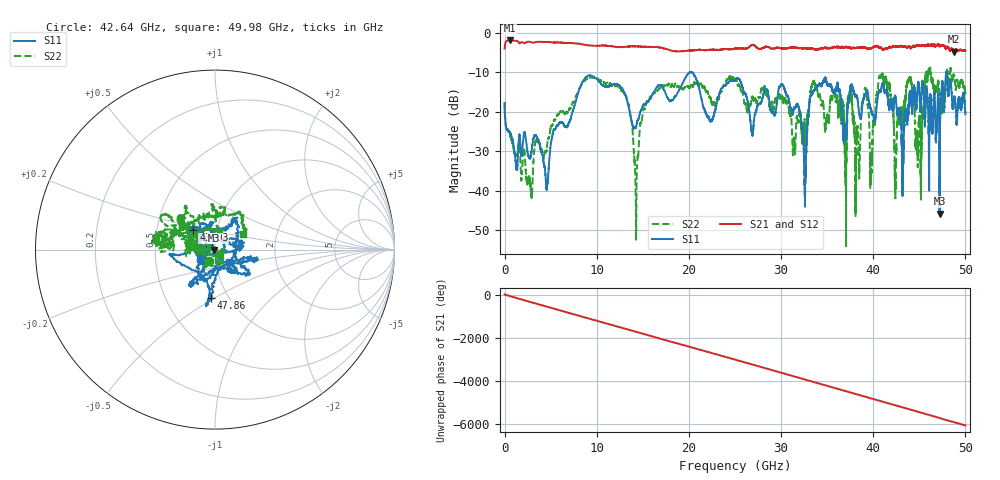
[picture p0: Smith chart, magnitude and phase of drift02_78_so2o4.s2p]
!Created with skrf (http://scikit-rf.org).
# Hz S RI R 50.0
!freq ReS11 ImS11 ReS21 ImS21 ReS12 ImS12 ReS22 ImS22
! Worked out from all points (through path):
!   10001 points, 300 kHz to 50 GHz, reference 50 ohm
!   highest |S21| = -1.99 dB at 610.3 MHz (marker M1); lowest = -4.9 dB at 48.77 GHz (marker M2)
!   group delay of S21, straight-line fit = 337 ps
!   lowest |S11| = -45.8 dB at 47.2 GHz (marker M3), VSWR 1.01, Z = 49.5 - j0.154 ohm
!   |S11| at or under -10 dB: start of sweep to 20.06 GHz; 20.24 GHz to 47.91 GHz (27.67 GHz wide, 81.2 % of centre); 47.92 GHz to end of sweep (the widest 3 of 6)
!   |S22| runs from -54.1 to -8.8 dB; largest |S21 - S12| = 0.035
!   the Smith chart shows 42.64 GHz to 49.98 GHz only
!   S11 on the Smith chart (normalised r, x): 42.64 GHz: 0.85, -0.10; 43.93 GHz: 0.77, +0.17; 47.86 GHz: 0.83, -0.48; 49.98 GHz: 1.15, -0.16
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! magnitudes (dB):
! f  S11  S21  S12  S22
! 300 kHz  -17.8  -4.1  -4.0  -17.6
! 610.3 MHz  -25.5  -2.0  -2.0  -26.2
! 4.565 GHz  -39.8  -2.4  -2.4  -29.5
! 8.335 GHz  -13.0  -2.9  -2.9  -13.2
! 13.01 GHz  -15.3  -3.6  -3.6  -15.7
! 14.28 GHz  -23.8  -3.5  -3.5  -50.7
! 16.67 GHz  -13.3  -3.7  -3.7  -14.5
! 25 GHz  -12.1  -4.1  -4.1  -12.1
! 30.19 GHz  -13.4  -4.1  -4.1  -16.7
! 32.58 GHz  -39.3  -3.9  -3.9  -24.5
! 33.34 GHz  -15.6  -4.0  -4.0  -13.5
! 38.29 GHz  -16.8  -3.9  -3.9  -23.6
! 41.67 GHz  -18.4  -3.8  -3.9  -12.9
! 42.64 GHz  -20.3  -3.5  -3.5  -22.6
! 43.93 GHz  -15.9  -3.5  -3.5  -11.7
! 44.99 GHz  -14.3  -3.3  -3.3  -21.1
! 45.9 GHz  -17.0  -3.2  -3.2  -11.3
! 47.2 GHz  -45.8  -3.4  -3.4  -16.6
! 47.86 GHz  -11.4  -4.0  -4.0  -14.2
! 48.77 GHz  -16.5  -4.9  -4.8  -10.7
! 49.98 GHz  -19.9  -4.6  -4.5  -15.1
! 50 GHz  -20.7  -4.6  -4.6  -15.4
